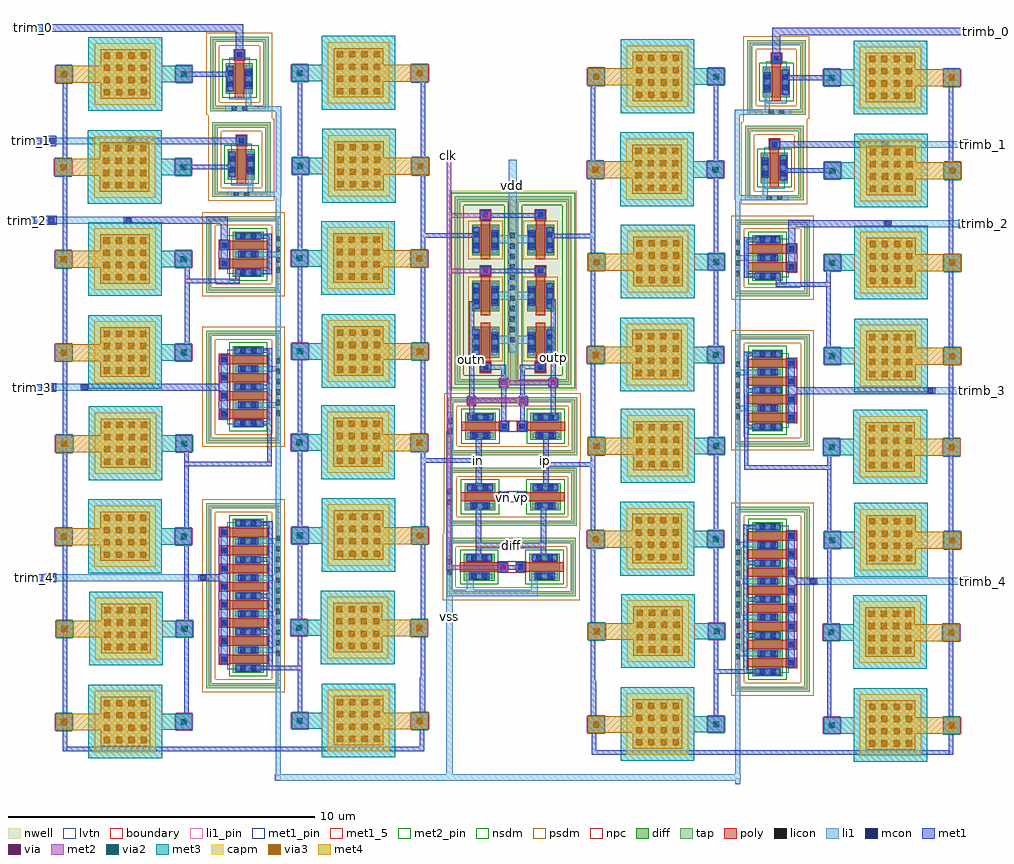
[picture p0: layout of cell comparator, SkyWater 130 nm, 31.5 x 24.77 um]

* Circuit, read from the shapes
.subckt comparator clk diff in ip outn outp trim_0 trim_1 trim_2 trim_3 trim_4 trimb_0 trimb_1 trimb_2 trimb_3 trimb_4 vdd vn vp vss
XM1 vss trim_4 trim_1/n4 vss sky130_fd_pr__nfet_01v8_lvt w=1 l=0.3 m=8
XM2 vss trim_3 trim_1/n3 vss sky130_fd_pr__nfet_01v8_lvt w=1 l=0.3 m=4
XM3 vss trim_2 trim_1/n2 vss sky130_fd_pr__nfet_01v8_lvt w=1 l=0.3 m=2
XM4 vss trim_0 trim_1/n0 vss sky130_fd_pr__nfet_01v8_lvt w=1 l=0.3
XM5 vss trim_1 trim_1/n1 vss sky130_fd_pr__nfet_01v8_lvt w=1 l=0.3
XM6 diff clk vss vss sky130_fd_pr__nfet_01v8 w=1 l=0.3 m=2
XM7 in vn diff vss sky130_fd_pr__nfet_01v8 w=1 l=0.3
XM8 outn outp in vss sky130_fd_pr__nfet_01v8 w=1 l=0.3
XM9 ip vp diff vss sky130_fd_pr__nfet_01v8 w=1 l=0.3
XM10 outp outn ip vss sky130_fd_pr__nfet_01v8 w=1 l=0.3
XM11 vss trimb_4 trim_0/n4 vss sky130_fd_pr__nfet_01v8_lvt w=1 l=0.3 m=8
XM12 vss trimb_3 trim_0/n3 vss sky130_fd_pr__nfet_01v8_lvt w=1 l=0.3 m=4
XM13 vss trimb_2 trim_0/n2 vss sky130_fd_pr__nfet_01v8_lvt w=1 l=0.3 m=2
XM14 trim_0/n1 trimb_1 vss vss sky130_fd_pr__nfet_01v8_lvt w=1 l=0.3
XM15 trim_0/n0 trimb_0 vss vss sky130_fd_pr__nfet_01v8_lvt w=1 l=0.3
XM16 vdd outp outn vdd sky130_fd_pr__pfet_01v8 w=1 l=0.3
XM17 vdd clk outn vdd sky130_fd_pr__pfet_01v8 w=1 l=0.3
XM18 vdd clk in vdd sky130_fd_pr__pfet_01v8 w=1 l=0.3
XM19 outp outn vdd vdd sky130_fd_pr__pfet_01v8 w=1 l=0.3
XM20 outp clk vdd vdd sky130_fd_pr__pfet_01v8 w=1 l=0.3
XM21 ip clk vdd vdd sky130_fd_pr__pfet_01v8 w=1 l=0.3
XC22 in trim_1/n1 sky130_fd_pr__cap_mim_m3_1 w=2 l=2
XC23 in trim_1/n2 sky130_fd_pr__cap_mim_m3_1 w=2 l=2 m=2
XC24 in trim_1/n3 sky130_fd_pr__cap_mim_m3_1 w=2 l=2 m=4
XC25 in trim_1/n0 sky130_fd_pr__cap_mim_m3_1 w=2 l=2
XC26 in trim_1/n4 sky130_fd_pr__cap_mim_m3_1 w=2 l=2 m=8
XC27 ip trim_0/n4 sky130_fd_pr__cap_mim_m3_1 w=2 l=2 m=8
XC28 ip trim_0/n3 sky130_fd_pr__cap_mim_m3_1 w=2 l=2 m=4
XC29 ip trim_0/n0 sky130_fd_pr__cap_mim_m3_1 w=2 l=2
XC30 ip trim_0/n2 sky130_fd_pr__cap_mim_m3_1 w=2 l=2 m=2
XC31 ip trim_0/n1 sky130_fd_pr__cap_mim_m3_1 w=2 l=2
.ends

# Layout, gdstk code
from math import pi, radians
import gdstk
lib = gdstk.Library(unit=1e-6, precision=1e-09)
def R(c, l, rs):  # rectangles x0, y0, x1, y1
    for r in rs: c.add(gdstk.rectangle(r[:2], r[2:], *l))
def A(c, l, x, y, w, h, nx, ny, dx, dy):  # array of equal rectangles
    R(c, l, [(x+i*dx, y+j*dy, x+i*dx+w, y+j*dy+h) for i in range(nx) for j in range(ny)])
nwell = (64, 20)
diff = (65, 20)
tap = (65, 44)
poly = (66, 20)
licon = (66, 44)
li1_pin = (67, 16)
li1 = (67, 20)
mcon = (67, 44)
met1_5 = (68, 5)
met1_pin = (68, 16)
met1 = (68, 20)
via = (68, 44)
met2_pin = (69, 16)
met2 = (69, 20)
via2 = (69, 44)
met3 = (70, 20)
via3 = (70, 44)
met4 = (71, 20)
capm = (89, 44)
nsdm = (93, 44)
psdm = (94, 20)
npc = (95, 20)
lvtn = (125, 44)
boundary = (235, 4)

sky130_fd_pr__cap_mim_m3 = lib.new_cell('sky130_fd_pr__cap_mim_m3_1_FJK8MD')
R(sky130_fd_pr__cap_mim_m3, met3, [(-1.93,-1.2,0.47,1.2)])
A(sky130_fd_pr__cap_mim_m3, via3, -1.43, -0.7, 0.2, 0.2, 4, 4, 0.4, 0.4)
R(sky130_fd_pr__cap_mim_m3, met4, [(-1.535,-0.805,0.075,0.805)])
R(sky130_fd_pr__cap_mim_m3, capm, [(-1.73,-1,0.27,1)])
R(sky130_fd_pr__cap_mim_m3, boundary, [(-1.93,-1.2,0.47,1.2)])

trimcap = lib.new_cell('trimcap')
R(trimcap, met1, [(0.895,2.025,1.49,2.56), (0.88,5.925,1.49,6.475)])
R(trimcap, via, [(1.115,2.215,1.265,2.365), (1.11,6.125,1.26,6.275)])
R(trimcap, met2, [(0.925,1.995,1.46,2.05), (0.905,2.05,1.48,2.535), (0.925,2.535,1.46,2.59), (0.91,5.895,1.46,5.95), (0.89,5.95,1.48,6.45), (0.91,6.45,1.46,6.505)])
R(trimcap, via2, [(1.09,2.19,1.29,2.39), (1.085,6.1,1.285,6.3)])
R(trimcap, met3, [(0.925,2.025,1.46,4.46), (0.91,5.925,1.46,5.93), (0.885,5.93,1.485,6.47), (0.91,6.47,1.46,6.475)])
R(trimcap, via3, [(1.085,6.1,1.285,6.3)])
R(trimcap, met4, [(0.91,4.18,1.46,6.475)])
trimcap.add(gdstk.Reference(sky130_fd_pr__cap_mim_m3, (1.93,4.2)))

sky130_fd_pr__nfet_01v8_ = lib.new_cell('sky130_fd_pr__nfet_01v8_lvt_3SNHZA')
R(sky130_fd_pr__nfet_01v8_, diff, [(-2.505,-0.655,2.505,0.345)])
R(sky130_fd_pr__nfet_01v8_, tap, [(-3.015,-1.215,3.015,-1.045), (-3.015,-1.045,-2.845,1.045), (2.845,-1.045,3.015,1.045), (-3.015,1.045,3.015,1.215)])
A(sky130_fd_pr__nfet_01v8_, poly, -2.215, -0.785, 0.3, 1.24, 8, 1, 0.59, 0)
A(sky130_fd_pr__nfet_01v8_, poly, -2.23, 0.455, 0.33, 0.33, 8, 1, 0.59, 0)
A(sky130_fd_pr__nfet_01v8_, licon, -1.955, -1.215, 0.17, 0.17, 12, 1, 0.34, 0)
A(sky130_fd_pr__nfet_01v8_, licon, -2.445, -0.41, 0.17, 0.17, 9, 2, 0.59, 0.34)
A(sky130_fd_pr__nfet_01v8_, licon, -2.15, 0.535, 0.17, 0.17, 8, 1, 0.59, 0)
A(sky130_fd_pr__nfet_01v8_, li1, -2.445, -0.585, 0.17, 0.86, 9, 1, 0.59, 0)
A(sky130_fd_pr__nfet_01v8_, li1, -2.23, 0.535, 0.33, 0.17, 8, 1, 0.59, 0)
R(sky130_fd_pr__nfet_01v8_, li1, [(-2.11,-1.215,2.11,-1.045)])
A(sky130_fd_pr__nfet_01v8_, mcon, -2.445, -0.42, 0.17, 0.17, 9, 2, 0.59, 0.36)
A(sky130_fd_pr__nfet_01v8_, mcon, -2.15, 0.535, 0.17, 0.17, 8, 1, 0.59, 0)
A(sky130_fd_pr__nfet_01v8_, met1, -2.475, -0.565, 0.23, 0.82, 5, 1, 1.18, 0)
A(sky130_fd_pr__nfet_01v8_, met1, -1.885, -0.48, 0.23, 0.65, 4, 1, 1.18, 0)
A(sky130_fd_pr__nfet_01v8_, met1, -2.21, 0.505, 0.29, 0.23, 8, 1, 0.59, 0)
R(sky130_fd_pr__nfet_01v8_, nsdm, [(-2.63,-0.78,2.63,0.47)])
R(sky130_fd_pr__nfet_01v8_, psdm, [(-3.14,-1.34,3.14,-0.92), (-3.14,-0.92,-2.72,0.92), (2.72,-0.92,3.14,0.92), (-3.14,0.92,3.14,1.34)])
R(sky130_fd_pr__nfet_01v8_, npc, [(-2.25,0.435,2.25,0.805)])
R(sky130_fd_pr__nfet_01v8_, lvtn, [(-2.395,-0.835,2.395,0.525)])
R(sky130_fd_pr__nfet_01v8_, boundary, [(-2.93,-1.13,2.93,1.13)])

c_sky130_fd_pr__nfet_01v8_ = lib.new_cell('sky130_fd_pr__nfet_01v8_lvt_FS2HZA')
R(c_sky130_fd_pr__nfet_01v8_, diff, [(-1.325,-0.655,1.325,0.345)])
R(c_sky130_fd_pr__nfet_01v8_, tap, [(-1.835,-1.215,1.835,-1.045), (-1.835,-1.045,-1.665,1.045), (1.665,-1.045,1.835,1.045), (-1.835,1.045,1.835,1.215)])
A(c_sky130_fd_pr__nfet_01v8_, poly, -1.035, -0.785, 0.3, 1.24, 4, 1, 0.59, 0)
A(c_sky130_fd_pr__nfet_01v8_, poly, -1.05, 0.455, 0.33, 0.33, 4, 1, 0.59, 0)
A(c_sky130_fd_pr__nfet_01v8_, licon, -0.935, -1.215, 0.17, 0.17, 6, 1, 0.34, 0)
A(c_sky130_fd_pr__nfet_01v8_, licon, -1.265, -0.41, 0.17, 0.17, 5, 2, 0.59, 0.34)
A(c_sky130_fd_pr__nfet_01v8_, licon, -0.97, 0.535, 0.17, 0.17, 4, 1, 0.59, 0)
A(c_sky130_fd_pr__nfet_01v8_, li1, -1.265, -0.585, 0.17, 0.86, 5, 1, 0.59, 0)
A(c_sky130_fd_pr__nfet_01v8_, li1, -1.05, 0.535, 0.33, 0.17, 4, 1, 0.59, 0)
R(c_sky130_fd_pr__nfet_01v8_, li1, [(-1.165,-1.215,1.165,-1.045)])
A(c_sky130_fd_pr__nfet_01v8_, mcon, -1.265, -0.42, 0.17, 0.17, 5, 2, 0.59, 0.36)
A(c_sky130_fd_pr__nfet_01v8_, mcon, -0.97, 0.535, 0.17, 0.17, 4, 1, 0.59, 0)
A(c_sky130_fd_pr__nfet_01v8_, met1, -1.295, -0.61, 0.23, 0.91, 3, 1, 1.18, 0)
A(c_sky130_fd_pr__nfet_01v8_, met1, -1.03, 0.505, 0.29, 0.23, 4, 1, 0.59, 0)
R(c_sky130_fd_pr__nfet_01v8_, met1, [(-0.705,-0.48,-0.475,0.17), (0.475,-0.48,0.705,0.17)])
R(c_sky130_fd_pr__nfet_01v8_, nsdm, [(-1.45,-0.78,1.45,0.47)])
R(c_sky130_fd_pr__nfet_01v8_, psdm, [(-1.96,-1.34,1.96,-0.92), (-1.96,-0.92,-1.54,0.92), (1.54,-0.92,1.96,0.92), (-1.96,0.92,1.96,1.34)])
R(c_sky130_fd_pr__nfet_01v8_, npc, [(-1.07,0.435,1.07,0.805)])
R(c_sky130_fd_pr__nfet_01v8_, lvtn, [(-1.215,-0.835,1.215,0.525)])
R(c_sky130_fd_pr__nfet_01v8_, boundary, [(-1.75,-1.13,1.75,1.13)])

c_sky130_fd_pr__nfet_01v8__ = lib.new_cell('sky130_fd_pr__nfet_01v8_lvt_763N5J')
R(c_sky130_fd_pr__nfet_01v8__, diff, [(-0.44,-0.655,0.44,0.345)])
R(c_sky130_fd_pr__nfet_01v8__, tap, [(-0.95,-1.215,0.95,-1.045), (-0.95,-1.045,-0.78,1.045), (0.78,-1.045,0.95,1.045), (-0.95,1.045,0.95,1.215)])
R(c_sky130_fd_pr__nfet_01v8__, poly, [(-0.15,-0.785,0.15,0.455), (-0.165,0.455,0.165,0.785)])
R(c_sky130_fd_pr__nfet_01v8__, licon, [(-0.255,-1.215,-0.085,-1.045), (0.085,-1.215,0.255,-1.045), (-0.38,-0.41,-0.21,-0.24), (0.21,-0.41,0.38,-0.24), (-0.38,-0.07,-0.21,0.1), (0.21,-0.07,0.38,0.1), (-0.085,0.535,0.085,0.705)])
R(c_sky130_fd_pr__nfet_01v8__, li1, [(-0.455,-1.215,0.455,-1.045), (-0.38,-0.585,-0.21,0.275), (0.21,-0.585,0.38,0.275), (-0.165,0.535,0.165,0.705)])
R(c_sky130_fd_pr__nfet_01v8__, mcon, [(-0.38,-0.42,-0.21,-0.25), (0.21,-0.42,0.38,-0.25), (-0.38,-0.06,-0.21,0.11), (0.21,-0.06,0.38,0.11), (-0.085,0.535,0.085,0.705)])
R(c_sky130_fd_pr__nfet_01v8__, met1, [(-0.41,-0.565,-0.18,0.255), (0.18,-0.48,0.41,0.17), (-0.15,0.48,0.15,0.77)])
R(c_sky130_fd_pr__nfet_01v8__, nsdm, [(-0.565,-0.78,0.565,0.47)])
R(c_sky130_fd_pr__nfet_01v8__, psdm, [(-1.075,-1.34,1.075,-0.92), (-1.075,-0.92,-0.655,0.92), (0.655,-0.92,1.075,0.92), (-1.075,0.92,1.075,1.34)])
R(c_sky130_fd_pr__nfet_01v8__, npc, [(-0.185,0.435,0.185,0.805)])
R(c_sky130_fd_pr__nfet_01v8__, lvtn, [(-0.33,-0.835,0.33,0.525)])
R(c_sky130_fd_pr__nfet_01v8__, boundary, [(-0.865,-1.13,0.865,1.13)])
c_sky130_fd_pr__nfet_01v8__.add(gdstk.Label('D', (-0.3,-0.15), layer=68, texttype=5))
c_sky130_fd_pr__nfet_01v8__.add(gdstk.Label('S', (0.31,-0.16), layer=68, texttype=5))
c_sky130_fd_pr__nfet_01v8__.add(gdstk.Label('G', (0,0.63), layer=68, texttype=5))
c_sky130_fd_pr__nfet_01v8__.add(gdstk.Label('B', (0.01,-1.13), layer=67, texttype=5))

c_sky130_fd_pr__nfet_01v8___ = lib.new_cell('sky130_fd_pr__nfet_01v8_lvt_THUHZA')
R(c_sky130_fd_pr__nfet_01v8___, diff, [(-0.735,-0.655,0.735,0.345)])
R(c_sky130_fd_pr__nfet_01v8___, tap, [(-1.245,-1.215,1.245,-1.045), (-1.245,-1.045,-1.075,1.045), (1.075,-1.045,1.245,1.045), (-1.245,1.045,1.245,1.215)])
R(c_sky130_fd_pr__nfet_01v8___, poly, [(-0.445,-0.785,-0.145,0.455), (0.145,-0.785,0.445,0.455), (-0.46,0.455,-0.13,0.785), (0.13,0.455,0.46,0.785)])
A(c_sky130_fd_pr__nfet_01v8___, licon, -0.595, -1.215, 0.17, 0.17, 4, 1, 0.34, 0)
A(c_sky130_fd_pr__nfet_01v8___, licon, -0.675, -0.41, 0.17, 0.17, 3, 2, 0.59, 0.34)
R(c_sky130_fd_pr__nfet_01v8___, licon, [(-0.38,0.535,-0.21,0.705), (0.21,0.535,0.38,0.705)])
A(c_sky130_fd_pr__nfet_01v8___, li1, -0.675, -0.585, 0.17, 0.86, 3, 1, 0.59, 0)
R(c_sky130_fd_pr__nfet_01v8___, li1, [(-0.69,-1.215,0.69,-1.045), (-0.46,0.535,-0.13,0.705), (0.13,0.535,0.46,0.705)])
A(c_sky130_fd_pr__nfet_01v8___, mcon, -0.675, -0.42, 0.17, 0.17, 3, 2, 0.59, 0.36)
R(c_sky130_fd_pr__nfet_01v8___, mcon, [(-0.38,0.535,-0.21,0.705), (0.21,0.535,0.38,0.705)])
R(c_sky130_fd_pr__nfet_01v8___, met1, [(-0.705,-0.565,-0.475,0.255), (0.475,-0.565,0.705,0.255), (-0.115,-0.48,0.115,0.17), (-0.45,0.47,-0.145,0.77), (0.14,0.475,0.445,0.775)])
R(c_sky130_fd_pr__nfet_01v8___, nsdm, [(-0.86,-0.78,0.86,0.47)])
R(c_sky130_fd_pr__nfet_01v8___, psdm, [(-1.37,-1.34,1.37,-0.92), (-1.37,-0.92,-0.95,0.92), (0.95,-0.92,1.37,0.92), (-1.37,0.92,1.37,1.34)])
R(c_sky130_fd_pr__nfet_01v8___, npc, [(-0.48,0.435,0.48,0.805)])
R(c_sky130_fd_pr__nfet_01v8___, lvtn, [(-0.625,-0.835,0.625,0.525)])
R(c_sky130_fd_pr__nfet_01v8___, boundary, [(-1.16,-1.13,1.16,1.13)])

trim = lib.new_cell('trim')
R(trim, li1_pin, [(-21.78,-2.735,-21.61,-2.565)])
R(trim, li1, [(-2.77,-2.75,0.19,-2.735), (-21.79,-2.735,0.19,-2.58), (-21.79,-2.58,-2.6,-2.565), (0.02,-2.58,0.19,-1.77), (-17.625,-2.565,-13.9,-2.525), (-9.64,-2.565,-9.465,-1.94), (-8.46,-2.565,-8.285,-1.925), (-4.73,-2.565,-4.555,-1.905), (-2.77,-2.565,-2.6,-1.835), (-17.625,-2.525,-16.27,-2.51), (-15.275,-2.525,-15.105,-1.84), (-14.07,-2.525,-13.9,-1.85), (-17.625,-2.51,-17.455,-1.97), (-16.44,-2.51,-16.27,-1.875), (-17.615,-1.97,-17.465,-1.95), (-2.77,-1.835,-1.785,-1.665), (0.02,-1.77,1.005,-1.6), (-2.77,-1.665,-2.6,-1.465), (0.02,-1.6,0.19,-1.495), (-15.3,-0.315,-15.07,4.9), (-1.055,2.04,-0.835,4.825), (-3.65,2.115,-3.42,4.85), (-9.09,3.53,-8.86,4.87)])
R(trim, mcon, [(-15.27,-0.285,-15.1,-0.115), (-1.03,2.065,-0.86,2.235), (-3.62,2.145,-3.45,2.315), (-9.06,3.56,-8.89,3.73), (-1.03,4.63,-0.86,4.8), (-3.62,4.65,-3.45,4.82), (-15.27,4.67,-15.1,4.84), (-9.065,4.67,-8.895,4.84)])
R(trim, met1_5, [(-18.2,-3.43,-18.055,-1.76), (-11.55,-2.445,-11.405,0.405), (-5.59,-1.405,-5.435,0.385), (-1.875,-1.125,-1.72,0.475), (1.15,-1.08,1.305,0.52)])
R(trim, met1_pin, [(-20.83,4.225,1.335,4.37), (2.615,5.025,2.865,5.275), (-15.3,5.045,-15.07,5.275), (-9.09,5.05,-8.87,5.27), (-3.65,5.065,-3.42,5.295), (-1.055,5.075,-0.835,5.295)])
R(trim, met1, [(-19.76,-7.44,1.565,-7.41), (-20.83,-7.41,1.565,-7.295), (-20.83,-7.295,-18.43,-7.265), (-20.83,-7.265,-20.685,4.225), (-19.75,-3.43,1.575,-3.285), (-18.2,-3.285,-18.055,-2.47), (-14.655,-2.475,-13.345,-2.47), (-18.2,-2.47,-13.345,-2.33), (-9.035,-2.455,-7.7,-2.445), (-11.55,-2.445,-7.7,-2.31), (-5.295,-2.445,-3.975,-2.29), (-18.2,-2.33,-14.51,-2.325), (-13.49,-2.33,-13.345,-1.625), (-18.2,-2.325,-18.055,-1.76), (-17.025,-2.325,-16.88,-1.8), (-15.855,-2.325,-15.71,-1.815), (-14.655,-2.325,-14.51,-1.675), (-11.55,-2.31,-8.89,-2.3), (-7.845,-2.31,-7.7,-1.91), (-11.55,-2.3,-11.405,0.26), (-10.225,-2.3,-10.08,-1.92), (-9.035,-2.3,-8.89,-1.905), (-5.295,-2.29,-5.14,-1.405), (-4.13,-2.29,-3.975,-1.715), (-1.055,-1.545,-0.835,2.005), (1.75,-1.52,2.865,-1.27), (-5.59,-1.405,-5.14,-1.25), (2.615,-1.27,2.865,5.275), (-5.59,-1.25,-5.435,0.23), (-1.875,-1.125,-1.72,0.475), (1.15,-1.08,1.305,0.52), (-17.98,-1.015,-13.545,-0.785), (-9.99,-1.015,-7.93,-0.785), (-5.095,-1.01,-3.42,-0.78), (-15.3,-0.785,-15.07,-0.055), (-9.09,-0.785,-8.86,3.79), (-3.65,-0.78,-3.42,2.375), (-7.92,0.23,-4.73,0.385), (-19.95,0.26,-10.725,0.405), (-1.06,2.005,-0.83,2.295), (-20.83,4.225,1.335,4.37), (-3.68,4.56,-3.39,4.91), (-1.115,4.575,-0.775,4.855), (-15.33,4.58,-15.04,4.93), (-9.12,4.58,-8.84,4.93), (-1.055,4.855,-0.835,5.295), (-3.65,4.91,-3.42,5.295), (-15.3,4.93,-15.07,5.295), (-9.09,4.93,-8.87,5.27)])
R(trim, psdm, [(-0.215,-2.465,-0.1,-0.38)])
trim.add(gdstk.Reference(trimcap, (-14.995,-1.075), x_reflection=True))
trim.add(gdstk.Reference(trimcap, (-18.005,-1.045), x_reflection=True))
trim.add(gdstk.Reference(trimcap, (-21.035,-1.065), x_reflection=True))
trim.add(gdstk.Reference(trimcap, (-11.965,-1.055), x_reflection=True))
trim.add(gdstk.Reference(trimcap, (-8.995,-1.075), x_reflection=True))
trim.add(gdstk.Reference(trimcap, (-5.965,-1.055), x_reflection=True))
trim.add(gdstk.Reference(trimcap, (-2.955,-1.085), x_reflection=True))
trim.add(gdstk.Reference(trimcap, (0.075,-1.065), x_reflection=True))
trim.add(gdstk.Reference(sky130_fd_pr__nfet_01v8_, (-15.77,-1.52)))
trim.add(gdstk.Reference(trimcap, (-21.07,-1.87)))
trim.add(gdstk.Reference(trimcap, (-18.04,-1.89)))
trim.add(gdstk.Reference(trimcap, (-15.03,-1.86)))
trim.add(gdstk.Reference(c_sky130_fd_pr__nfet_01v8_, (-8.96,-1.52)))
trim.add(gdstk.Reference(trimcap, (-12,-1.88)))
trim.add(gdstk.Reference(trimcap, (-9.03,-1.86)))
trim.add(gdstk.Reference(c_sky130_fd_pr__nfet_01v8__, (-1.555,-1.455), rotation=3*pi/2))
trim.add(gdstk.Reference(c_sky130_fd_pr__nfet_01v8___, (-4.645,-1.52)))
trim.add(gdstk.Reference(trimcap, (-5.99,-1.855)))
trim.add(gdstk.Reference(trimcap, (-2.99,-1.85)))
trim.add(gdstk.Reference(c_sky130_fd_pr__nfet_01v8__, (1.24,-1.39), rotation=3*pi/2))
trim.add(gdstk.Reference(trimcap, (0.04,-1.87)))
trim.add(gdstk.Label('n4', (-18.127,-2.595), layer=68, texttype=5))
trim.add(gdstk.Label('n3', (-11.477,-1.02), layer=68, texttype=5))
trim.add(gdstk.Label('n2', (-5.512,-0.51), layer=68, texttype=5))
trim.add(gdstk.Label('n1', (-1.797,-0.325), layer=68, texttype=5))
trim.add(gdstk.Label('n0', (1.227,-0.28), layer=68, texttype=5))
trim.add(gdstk.Label('drain', (-9.747,4.297), layer=68, texttype=5))
trim.add(gdstk.Label('d_4_', (-15.185,5.16), layer=68, texttype=5))
trim.add(gdstk.Label('d_3_', (-8.98,5.16), layer=68, texttype=5))
trim.add(gdstk.Label('d_2_', (-3.535,5.18), layer=68, texttype=5))
trim.add(gdstk.Label('d_1_', (-0.945,5.185), layer=68, texttype=5))
trim.add(gdstk.Label('d_0_', (2.74,5.15), layer=68, texttype=5))
trim.add(gdstk.Label('vss', (-21.695,-2.65), layer=67, texttype=5))

sky130_fd_pr__pfet_01v8_ = lib.new_cell('sky130_fd_pr__pfet_01v8_QE5SNW')
R(sky130_fd_pr__pfet_01v8_, nwell, [(-1.13,-3.245,1.13,3.245)])
R(sky130_fd_pr__pfet_01v8_, diff, [(-0.39,-2.185,0.49,-1.185), (-0.39,-0.68,0.49,0.32), (-0.39,1.145,0.49,2.145)])
R(sky130_fd_pr__pfet_01v8_, tap, [(-0.95,-3.065,0.95,-2.895), (-0.95,-2.895,-0.78,2.895), (0.78,-2.895,0.95,2.895), (-0.95,2.895,0.95,3.065)])
R(sky130_fd_pr__pfet_01v8_, poly, [(-0.115,-2.67,0.215,-2.34), (-0.1,-2.34,0.2,-1.055), (-0.1,-0.81,0.2,0.475), (-0.115,0.475,0.215,0.805), (-0.1,1.015,0.2,2.3), (-0.115,2.3,0.215,2.63)])
R(sky130_fd_pr__pfet_01v8_, licon, [(-0.035,-2.59,0.135,-2.42), (-0.33,-1.94,-0.16,-1.77), (0.26,-1.94,0.43,-1.77), (-0.33,-1.6,-0.16,-1.43), (0.26,-1.6,0.43,-1.43), (-0.33,-0.435,-0.16,-0.265), (0.26,-0.435,0.43,-0.265), (-0.33,-0.095,-0.16,0.075), (0.26,-0.095,0.43,0.075), (-0.035,0.555,0.135,0.725), (-0.33,1.39,-0.16,1.56), (0.26,1.39,0.43,1.56), (-0.33,1.73,-0.16,1.9), (0.26,1.73,0.43,1.9), (-0.035,2.38,0.135,2.55)])
R(sky130_fd_pr__pfet_01v8_, li1, [(-0.115,-2.59,0.215,-2.42), (-0.33,-2.115,-0.16,-1.255), (0.26,-2.115,0.43,-1.255), (-0.33,-0.61,-0.16,0.25), (0.26,-0.61,0.43,0.25), (-0.115,0.555,0.215,0.725), (-0.33,1.215,-0.16,2.075), (0.26,1.215,0.43,2.075), (-0.115,2.38,0.215,2.55)])
R(sky130_fd_pr__pfet_01v8_, mcon, [(-0.035,-2.59,0.135,-2.42), (-0.33,-1.95,-0.16,-1.78), (0.26,-1.95,0.43,-1.78), (-0.33,-1.59,-0.16,-1.42), (0.26,-1.59,0.43,-1.42), (-0.33,-0.445,-0.16,-0.275), (0.26,-0.445,0.43,-0.275), (-0.33,-0.085,-0.16,0.085), (0.26,-0.085,0.43,0.085), (-0.035,0.555,0.135,0.725), (-0.33,1.38,-0.16,1.55), (0.26,1.38,0.43,1.55), (-0.33,1.74,-0.16,1.91), (0.26,1.74,0.43,1.91), (-0.035,2.38,0.135,2.55)])
R(sky130_fd_pr__pfet_01v8_, met1, [(-0.1,-2.64,0.2,-2.36), (-0.36,-2.095,-0.13,-1.275), (0.23,-2.01,0.46,-1.36), (-0.36,-0.59,-0.13,0.23), (0.23,-0.505,0.46,0.145), (-0.1,0.49,0.2,0.77), (-0.36,1.235,-0.13,2.055), (0.23,1.32,0.46,1.97), (-0.1,2.33,0.2,2.61)])
R(sky130_fd_pr__pfet_01v8_, nsdm, [(-1.075,-3.19,1.075,-2.77), (-1.075,-2.77,-0.655,2.77), (0.655,-2.77,1.075,2.77), (-1.075,2.77,1.075,3.19)])
R(sky130_fd_pr__pfet_01v8_, psdm, [(-0.515,-2.31,0.615,0.445), (-0.515,1.02,0.615,2.27)])
R(sky130_fd_pr__pfet_01v8_, npc, [(-0.135,-2.69,0.235,-2.32), (-0.135,0.455,0.235,0.825), (-0.135,2.28,0.235,2.65)])
R(sky130_fd_pr__pfet_01v8_, boundary, [(-0.865,-2.98,0.865,2.98)])

c_sky130_fd_pr__nfet_01v8____ = lib.new_cell('sky130_fd_pr__nfet_01v8_7UX3DE')
R(c_sky130_fd_pr__nfet_01v8____, diff, [(-0.44,-1.545,0.44,-0.545), (-0.44,0.585,0.44,1.585)])
R(c_sky130_fd_pr__nfet_01v8____, tap, [(-0.95,-2.105,0.95,-1.935), (-0.95,-1.935,-0.78,1.935), (0.78,-1.935,0.95,1.935), (-0.95,1.935,0.95,2.105)])
R(c_sky130_fd_pr__nfet_01v8____, poly, [(-0.15,-1.675,0.15,-0.435), (-0.165,-0.435,0.165,-0.105), (-0.165,0.145,0.165,0.475), (-0.15,0.475,0.15,1.715)])
R(c_sky130_fd_pr__nfet_01v8____, licon, [(-0.255,-2.105,-0.085,-1.935), (0.085,-2.105,0.255,-1.935), (-0.38,-1.3,-0.21,-1.13), (0.21,-1.3,0.38,-1.13), (-0.38,-0.96,-0.21,-0.79), (0.21,-0.96,0.38,-0.79), (-0.085,-0.355,0.085,-0.185), (-0.085,0.225,0.085,0.395), (-0.38,0.83,-0.21,1), (0.21,0.83,0.38,1), (-0.38,1.17,-0.21,1.34), (0.21,1.17,0.38,1.34)])
R(c_sky130_fd_pr__nfet_01v8____, li1, [(-0.455,-2.105,0.455,-1.935), (-0.38,-1.475,-0.21,-0.615), (0.21,-1.475,0.38,-0.615), (-0.165,-0.355,0.165,-0.185), (-0.165,0.225,0.165,0.395), (-0.38,0.655,-0.21,1.515), (0.21,0.655,0.38,1.515)])
R(c_sky130_fd_pr__nfet_01v8____, mcon, [(-0.38,-1.31,-0.21,-1.14), (0.21,-1.31,0.38,-1.14), (-0.38,-0.95,-0.21,-0.78), (0.21,-0.95,0.38,-0.78), (-0.085,-0.355,0.085,-0.185), (-0.085,0.225,0.085,0.395), (-0.38,0.82,-0.21,0.99), (0.21,0.82,0.38,0.99), (-0.38,1.18,-0.21,1.35), (0.21,1.18,0.38,1.35)])
R(c_sky130_fd_pr__nfet_01v8____, met1, [(-0.41,-1.455,-0.18,-0.635), (0.18,-1.37,0.41,-0.72), (-0.15,-0.42,0.15,-0.12), (-0.15,0.16,0.15,0.46), (-0.41,0.675,-0.18,1.495), (0.18,0.76,0.41,1.41)])
R(c_sky130_fd_pr__nfet_01v8____, nsdm, [(-0.565,-1.67,0.565,-0.42), (-0.565,0.46,0.565,1.71)])
R(c_sky130_fd_pr__nfet_01v8____, psdm, [(-1.075,-2.23,1.075,-1.81), (-1.075,-1.81,-0.655,1.81), (0.655,-1.81,1.075,1.81), (-1.075,1.81,1.075,2.23)])
R(c_sky130_fd_pr__nfet_01v8____, npc, [(-0.185,-0.455,0.185,0.495)])
R(c_sky130_fd_pr__nfet_01v8____, boundary, [(-0.865,-2.02,0.865,2.02)])

comparator = lib.new_cell('comparator')
R(comparator, tap, [(6.81,4.575,6.99,8.3)])
A(comparator, licon, 6.815, 4.65, 0.17, 0.17, 1, 11, 0, 0.34)
R(comparator, li1_pin, [(4.75,-4.375,4.965,-4.16), (6.79,9.645,7.05,9.905)])
R(comparator, li1, [(-0.845,-9.63,14.345,-9.415), (4.75,-9.415,4.965,-3.625), (4.75,-3.625,7.73,-3.41), (4.75,-3.41,4.965,1.765), (5.42,-3.41,5.635,-2.885), (7.515,-3.41,7.73,-2.91), (7.12,-0.555,7.295,-0.215), (6.535,-0.545,6.705,-0.205), (6.79,4.335,7.05,4.605), (6.28,4.605,7.56,4.865), (6.78,4.865,7.05,6.05), (6.26,6.05,7.58,6.31), (6.76,6.31,7.05,7.89), (6.26,7.89,7.6,8.15), (6.79,8.15,7.05,10.6)])
R(comparator, met1_5, [(5.72,-2.055,8.01,-1.885), (7.9,-0.05,8.09,1.64), (5.705,-0.035,5.895,1.655)])
R(comparator, met1_pin, [(22.155,-3.25,22.385,-3.02), (-8.875,-3.135,-8.45,-2.905), (5.49,2.19,5.65,5.99), (8.15,2.24,8.31,6.06), (22.11,2.96,22.33,3.18), (-8.86,3.075,-8.64,3.295), (22.215,8.4,22.445,8.63), (-9.025,8.515,-8.795,8.745), (22.15,10.995,22.37,11.215), (-8.88,11.11,-8.66,11.33), (22.225,14.665,22.475,14.915), (-8.845,14.78,-8.595,15.03)])
R(comparator, met1, [(21.955,-3.25,22.385,-3.02), (-8.875,-3.135,-8.45,-2.905), (6.465,-2.85,6.725,-2.765), (6.465,-2.765,7.265,-2.615), (6.465,-2.615,6.725,-2.53), (7.82,-2.34,8,-2.055), (5.71,-2.325,5.89,-2.055), (5.71,-2.055,8.01,-1.885), (5.71,-1.885,5.89,-0.65), (7.82,-1.885,8,-0.665), (7.9,-0.05,8.09,0.595), (5.705,-0.035,5.895,0.725), (7.83,0.595,9.6,0.74), (3.91,0.725,5.895,0.87), (7.9,0.74,8.09,1.64), (5.705,0.87,5.895,1.655), (7.15,1.76,7.31,2.59), (6.54,1.87,6.7,3.18), (5.49,2.19,5.65,2.59), (8.15,2.24,8.31,3.21), (5.44,2.59,5.7,2.91), (7.12,2.59,7.38,2.91), (5.49,2.91,5.65,5.99), (7.15,2.91,7.31,3.77), (21.91,2.96,22.33,3.18), (-8.86,3.075,-8.43,3.295), (6.49,3.18,6.75,3.5), (8.07,3.21,8.39,3.47), (8.15,3.47,8.31,4.25), (6.54,3.5,6.7,3.76), (5.86,3.76,6.7,3.93), (7.14,3.77,7.91,3.92), (7.15,3.92,7.31,3.93), (8.1,4.25,8.31,4.26), (8.08,4.26,8.31,4.41), (8.15,4.41,8.31,6.06), (5.89,6.82,6.15,6.905), (5.89,6.905,8.005,7.055), (5.89,7.055,6.15,7.14), (8.105,8.045,9.6,8.19), (3.91,8.07,5.795,8.215), (21.96,8.4,22.445,8.63), (-9.025,8.515,-8.45,8.745), (5.905,8.63,6.165,8.715), (5.905,8.715,7.97,8.865), (5.905,8.865,6.165,8.95), (21.96,10.995,22.37,11.215), (-8.88,11.11,-8.43,11.33), (21.92,14.665,22.475,14.915), (-8.845,14.78,-8.385,15.03)])
R(comparator, via, [(6.52,-2.765,6.67,-2.615), (5.495,2.675,5.645,2.825), (7.175,2.675,7.325,2.825), (6.545,3.265,6.695,3.415), (8.155,3.265,8.305,3.415), (5.945,6.905,6.095,7.055), (5.96,8.715,6.11,8.865)])
R(comparator, met2_pin, [(4.755,10.67,4.905,10.82)])
R(comparator, met2, [(6.435,-2.82,6.755,-2.765), (4.755,-2.765,6.755,-2.615), (4.755,-2.615,4.905,6.905), (6.435,-2.615,6.755,-2.56), (5.41,2.62,5.73,2.67), (7.09,2.62,7.41,2.67), (5.41,2.67,7.41,2.83), (5.41,2.83,5.73,2.88), (7.09,2.83,7.41,2.88), (8.1,3.18,8.36,3.26), (6.46,3.21,6.78,3.26), (6.46,3.26,8.36,3.42), (6.46,3.42,6.78,3.47), (8.1,3.42,8.36,3.5), (5.86,6.85,6.18,6.905), (4.755,6.905,6.18,7.055), (4.755,7.055,4.905,8.715), (5.86,7.055,6.18,7.11), (5.875,8.66,6.195,8.715), (4.755,8.715,6.195,8.865), (4.755,8.865,4.905,10.82), (5.875,8.865,6.195,8.92)])
R(comparator, nsdm, [(6.685,4.45,7.115,8.425)])
R(comparator, psdm, [(4.66,-1.595,9.095,-1.455), (4.675,0.695,9.12,0.845)])
comparator.add(gdstk.Reference(trim, (16.895,12.05), rotation=pi/2, x_reflection=True))
comparator.add(gdstk.Reference(trim, (-3.385,12.165), rotation=pi/2))
comparator.add(gdstk.Reference(sky130_fd_pr__pfet_01v8_, (5.975,6.345)))
comparator.add(gdstk.Reference(sky130_fd_pr__pfet_01v8_, (7.87,6.345), rotation=pi, x_reflection=True))
comparator.add(gdstk.Reference(c_sky130_fd_pr__nfet_01v8____, (6.89,-0.38), rotation=3*pi/2))
comparator.add(gdstk.Reference(c_sky130_fd_pr__nfet_01v8____, (6.905,1.92), rotation=3*pi/2))
comparator.add(gdstk.Reference(c_sky130_fd_pr__nfet_01v8____, (6.865,-2.67), rotation=3*pi/2))
comparator.add(gdstk.Label('ip', (7.995,0.795), layer=68, texttype=5))
comparator.add(gdstk.Label('in', (5.8,0.81), layer=68, texttype=5))
comparator.add(gdstk.Label('diff', (6.865,-1.97), layer=68, texttype=5))
comparator.add(gdstk.Label('trim_4', (-8.662,-3.02), layer=68, texttype=5))
comparator.add(gdstk.Label('trim_3', (-8.75,3.185), layer=68, texttype=5))
comparator.add(gdstk.Label('trim_2', (-8.91,8.63), layer=68, texttype=5))
comparator.add(gdstk.Label('trim_1', (-8.77,11.22), layer=68, texttype=5))
comparator.add(gdstk.Label('trim_0', (-8.72,14.905), layer=68, texttype=5))
comparator.add(gdstk.Label('trimb_4', (22.27,-3.135), layer=68, texttype=5))
comparator.add(gdstk.Label('trimb_3', (22.22,3.07), layer=68, texttype=5))
comparator.add(gdstk.Label('trimb_2', (22.33,8.515), layer=68, texttype=5))
comparator.add(gdstk.Label('trimb_1', (22.26,11.105), layer=68, texttype=5))
comparator.add(gdstk.Label('trimb_0', (22.35,14.79), layer=68, texttype=5))
comparator.add(gdstk.Label('vp', (7.2,-0.415), layer=67, texttype=5))
comparator.add(gdstk.Label('vn', (6.61,-0.405), layer=67, texttype=5))
comparator.add(gdstk.Label('outp', (8.23,4.15), layer=68, texttype=5))
comparator.add(gdstk.Label('outn', (5.57,4.09), layer=68, texttype=5))
comparator.add(gdstk.Label('clk', (4.83,10.745), layer=69, texttype=5))
comparator.add(gdstk.Label('vdd', (6.92,9.775), layer=67, texttype=5))
comparator.add(gdstk.Label('vss', (4.857,-4.267), layer=67, texttype=5))

lib.write_gds('comparator.gds')
